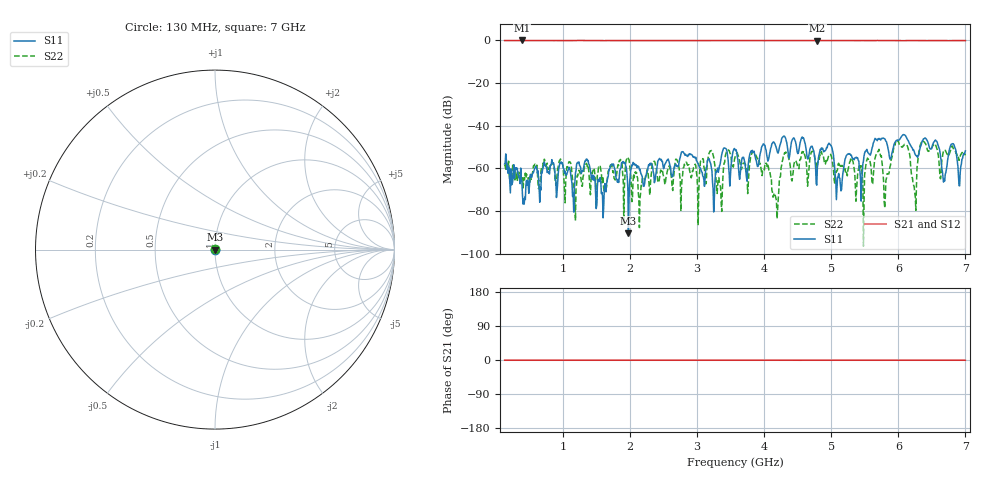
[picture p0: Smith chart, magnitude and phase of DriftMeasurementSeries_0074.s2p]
# Hz S RI R 50.000000
! Metas.Vna.Tools, 2.8.8664.20301
! Metas.Vna.Data, 2.8.8664.20285
! Created: UTC 2024.02.11 10:08:38
! FREQ  re:S1,1  im:S1,1  re:S2,1  im:S2,1  re:S1,2  im:S1,2  re:S2,2  im:S2,2
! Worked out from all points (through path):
!   801 points, 130 MHz to 7 GHz, reference 50 ohm
!   highest |S21| = -0.01 dB at 387.6 MHz (marker M1); lowest = -0.1 dB at 4.793 GHz (marker M2)
!   lowest |S11| = -90.4 dB at 1.976 GHz (marker M3), VSWR 1.00, Z = 50 - j0.000529 ohm
!   |S11| at or under -10 dB: start of sweep to end of sweep
!   |S22| runs from -96.4 to -46.7 dB; largest |S21 - S12| = 0.016
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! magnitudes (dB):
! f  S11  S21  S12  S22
! 130 MHz  -57.9  0.0  0.0  -58.3
! 387.6 MHz  -66.4  0.0  0.0  -65.7
! 1.281 GHz  -61.6  0.0  0.0  -68.3
! 1.976 GHz  -90.4  -0.1  0.0  -55.5
! 2.139 GHz  -60.6  -0.1  0.0  -87.7
! 2.423 GHz  -56.1  -0.1  0.0  -66.6
! 3.264 GHz  -67.2  -0.1  0.0  -58.4
! 3.333 GHz  -58.8  -0.1  0.0  -67.1
! 3.445 GHz  -51.9  -0.1  0.0  -51.6
! 3.565 GHz  -51.1  -0.1  0.0  -54.7
! 4.046 GHz  -54.9  -0.1  0.0  -59.2
! 4.175 GHz  -49.6  -0.1  0.0  -74.0
! 4.312 GHz  -45.4  -0.1  0.0  -52.9
! 4.716 GHz  -49.6  -0.1  0.0  -52.0
! 4.793 GHz  -59.5  -0.1  0.0  -58.4
! 5.858 GHz  -52.5  0.0  0.0  -62.6
! 5.978 GHz  -46.9  -0.1  0.0  -47.1
! 6.141 GHz  -46.7  -0.1  0.0  -50.1
! 6.236 GHz  -51.9  -0.1  0.0  -68.5
! 6.356 GHz  -47.1  -0.1  0.0  -47.0
! 6.682 GHz  -65.2  -0.1  0.0  -52.0
! 7 GHz  -51.8  -0.1  0.0  -53.9
